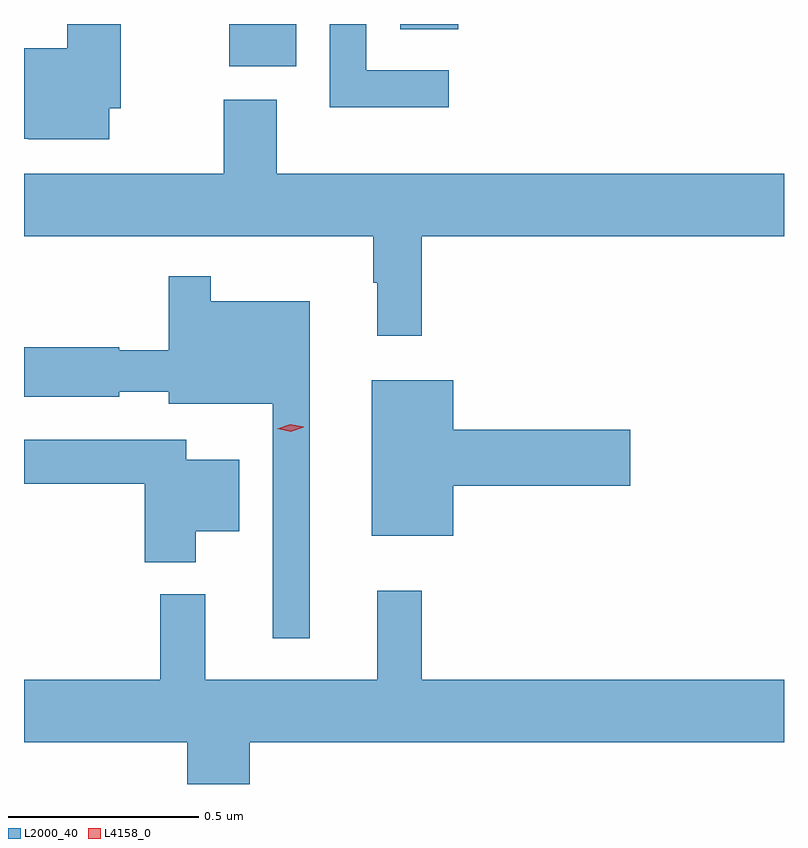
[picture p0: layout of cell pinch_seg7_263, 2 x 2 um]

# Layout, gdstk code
import gdstk
lib = gdstk.Library(unit=1e-6, precision=1e-09)
def R(c, l, rs):  # rectangles x0, y0, x1, y1
    for r in rs: c.add(gdstk.rectangle(r[:2], r[2:], *l))
def P(c, l, *ps):  # polygons
    for p in ps: c.add(gdstk.Polygon(p, *l))
L2000_40 = (2000, 40)
L4158_0 = (4158, 0)

pinch_seg7_263 = lib.new_cell('pinch_seg7_263')
R(pinch_seg7_263, L2000_40, [(873.524,1055.675,873.7,1055.786), (873.974,1055.772,874.127,1055.786)])
P(pinch_seg7_263, L2000_40, [(873.208,1055.564),(873.238,1055.564),(873.238,1055.786),(873.098,1055.786),(873.098,1055.722),(872.984,1055.722),(872.984,1055.484),(872.995,1055.484),(872.995,1055.483),(873.208,1055.483)],
  [(874.102,1055.664),(873.885,1055.664),(873.885,1055.786),(873.789,1055.786),(873.789,1055.567),(874.102,1055.567)],
  [(874.031,1055.228),(874.984,1055.228),(874.984,1055.392),(873.649,1055.392),(873.649,1055.587),(873.509,1055.587),(873.509,1055.392),(872.984,1055.392),(872.984,1055.228),(873.903,1055.228),(873.903,1055.105),(873.914,1055.105),(873.914,1054.965),(874.031,1054.965)],
  [(873.736,1055.056),(873.475,1055.056),(873.475,1055.122),(873.365,1055.122),(873.365,1054.927),(873.234,1054.927),(873.234,1054.935),(872.984,1054.935),(872.984,1054.805),(873.234,1054.805),(873.234,1054.818),(873.365,1054.818),(873.365,1054.787),(873.639,1054.787),(873.639,1054.17),(873.736,1054.17)],
  [(874.114,1054.571),(874.579,1054.571),(874.579,1054.718),(874.114,1054.718),(874.114,1054.849),(873.899,1054.849),(873.899,1054.439),(874.114,1054.439)],
  [(873.436,1054.451),(873.55,1054.451),(873.55,1054.639),(873.411,1054.639),(873.411,1054.692),(872.984,1054.692),(872.984,1054.576),(873.302,1054.576),(873.302,1054.37),(873.436,1054.37)],
  [(873.578,1053.896),(874.984,1053.896),(874.984,1054.06),(874.031,1054.06),(874.031,1054.294),(873.914,1054.294),(873.914,1054.06),(873.461,1054.06),(873.461,1054.285),(873.343,1054.285),(873.343,1054.06),(872.984,1054.06),(872.984,1053.896),(873.413,1053.896),(873.413,1053.786),(873.578,1053.786)])
P(pinch_seg7_263, L4158_0, [(873.686,1054.713),(873.65,1054.721),(873.649,1054.721),(873.65,1054.721),(873.684,1054.733),(873.72,1054.726),(873.72,1054.725),(873.72,1054.725)])

lib.write_gds('pinch_seg7_263.gds')
